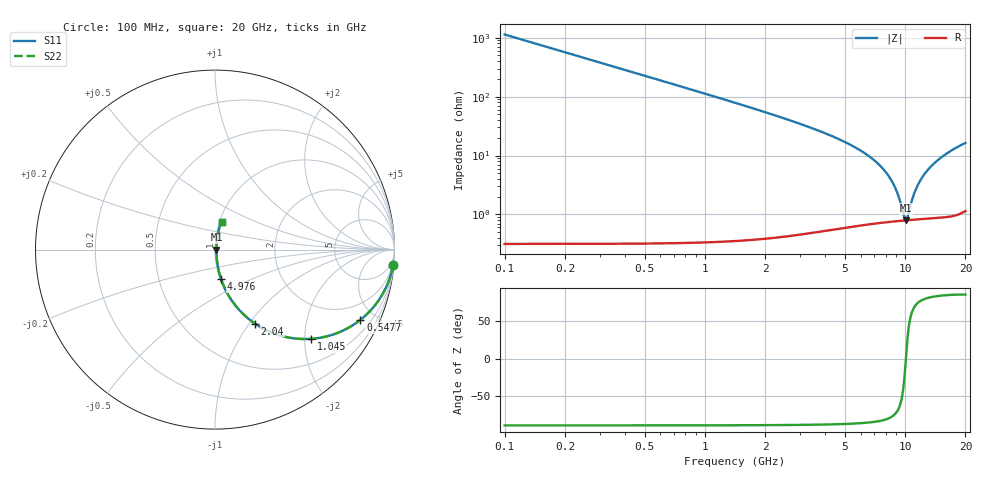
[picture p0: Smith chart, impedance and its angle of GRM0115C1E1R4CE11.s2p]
!Murata Part Number: GRM0115C1E1R4CE11
!These Parameters are Measured in Series Mode Connection
!Data Generated on Mar 30, 2021
!  o--ll--o
!Port1  Port2
!  o------o
!Operation Temp=25[degC], DC Bias Voltage=0[V]
!Freq. Start=100[MHz] Stop=20[GHz] 401[Steps]
# Hz S RI R 50
!Freq.(Hz) S11(Real) S11(Imag) S21(Real) S21(Imag) S12(Real) S12(Imag) S22(Real) S22(Imag)
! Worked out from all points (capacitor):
!   401 points, 100 MHz to 20 GHz, reference 50 ohm
!   read as one part in series: C = 1.4 pF near 199.5 MHz
!   lowest |Z| = 793 mohm at 10.1 GHz (marker M1)
!   series resonance near 10.09 GHz, so ESL is about 180 pH
!   S11 on the Smith chart (normalised r, x): 100 MHz: 1, -23; 547.8 MHz: 1.01, -4.14; 1.045 GHz: 1.01, -2.15; 2.04 GHz: 1.01, -1.07; 4.976 GHz: 1.01, -0.34; 20 GHz: 1.02, +0.33
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1e8  0.9923 -0.0873  0.0077 0.0873  0.0077 0.0873  0.9923 -0.0873
2.99e8  0.935 -0.2461  0.065 0.2461  0.065 0.2461  0.935 -0.2461
5.4775e8  0.8102 -0.3913  0.1898 0.3913  0.1898 0.3913  0.8102 -0.3913
1.04525e9  0.536 -0.4971  0.464 0.4971  0.464 0.4971  0.536 -0.4971
1.493e9  0.3567 -0.4766  0.6433 0.4766  0.6433 0.4766  0.3567 -0.4766
2.04025e9  0.2229 -0.4126  0.7771 0.4126  0.7771 0.4126  0.2229 -0.4126
3.43325e9  0.0818 -0.2658  0.9182 0.2658  0.9182 0.2658  0.0818 -0.2658
4.9755e9  0.0338 -0.1644  0.9662 0.1644  0.9662 0.1644  0.0338 -0.1644
6.7665e9  0.0149 -0.0892  0.9851 0.0892  0.9851 0.0892  0.0149 -0.0892
7.861e9  0.0103 -0.055  0.9897 0.055  0.9897 0.055  0.0103 -0.055
8.70675e9  0.00856 -0.0323  0.9914 0.0323  0.9914 0.0323  0.00856 -0.0323
9.254e9  0.00802 -0.0189  0.992 0.0189  0.992 0.0189  0.00802 -0.0189
9.851e9  0.00784 -0.00525  0.9922 0.00525  0.9922 0.00525  0.00784 -0.00525
1.005e10  0.00786 -0.000887  0.9921 0.000887  0.9921 0.000887  0.00786 -0.000887
1.009975e10  0.00787 0.00019  0.9921 -0.00019  0.9921 -0.00019  0.00787 0.00019
1.029875e10  0.00793 0.00444  0.9921 -0.00444  0.9921 -0.00444  0.00793 0.00444
1.09455e10  0.00836 0.0177  0.9916 -0.0177  0.9916 -0.0177  0.00836 0.0177
1.149275e10  0.00896 0.0284  0.991 -0.0284  0.991 -0.0284  0.00896 0.0284
1.23385e10  0.0103 0.044  0.9897 -0.044  0.9897 -0.044  0.0103 0.044
1.338325e10  0.0124 0.062  0.9876 -0.062  0.9876 -0.062  0.0124 0.062
1.67165e10  0.0221 0.113  0.9779 -0.113  0.9779 -0.113  0.0221 0.113
2e10  0.0362 0.1552  0.9638 -0.1552  0.9638 -0.1552  0.0362 0.1552
